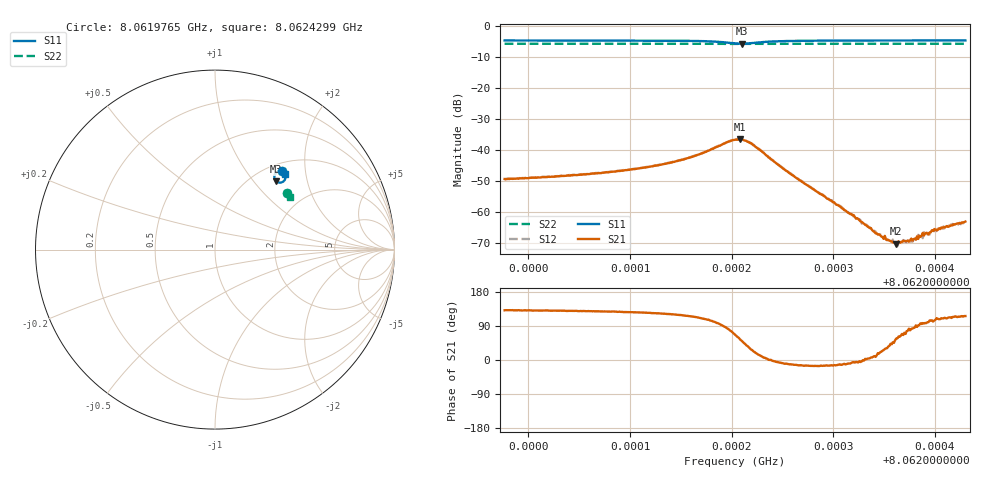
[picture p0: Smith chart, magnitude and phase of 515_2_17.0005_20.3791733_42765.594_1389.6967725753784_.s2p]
#  HZ  S  RI  R  50.00
! Rohde & Schwarz Vector Network Analyzer
! Rohde-Schwarz,ZNB20-2Port,1311601062101988,3.16
! Created: UTC 3/20/2024, 11:15:09 PM
! freq[Hz]  re:S11  im:S11  re:S21  im:S21  re:S12  im:S12  re:S22  im:S22
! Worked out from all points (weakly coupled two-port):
!   401 points, 8.0619765 GHz to 8.0624299 GHz, reference 50 ohm
!   highest |S21| = -36.56 dB at 8.0622078 GHz (marker M1); lowest = -70.1 dB at 8.0623619 GHz (marker M2)
!   lowest |S11| = -5.8 dB at 8.06221 GHz (marker M3), VSWR 3.09, Z = 63.7 + j65.7 ohm
!   |S11| at or under -10 dB: nowhere
!   |S22| runs from -5.9 to -5.8 dB; largest |S21 - S12| = 0.00098
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8.06197653e9  0.3753 0.4371  -0.00225 0.00258  -0.00215 0.00272  0.4025 0.3126
8.06205247e9  0.3815 0.4311  -0.00254 0.00313  -0.00239 0.00334  0.4054 0.3087
8.06208988e9  0.3849 0.4269  -0.0028 0.00365  -0.0026 0.00388  0.4069 0.3069
8.06212842e9  0.3893 0.4204  -0.00313 0.00481  -0.00285 0.00504  0.4083 0.3047
8.06216015e9  0.3928 0.4093  -0.00327 0.00698  -0.00288 0.00721  0.4093 0.3027
8.06218622e9  0.3881 0.3876  -0.00146 0.0113  -0.000871 0.0116  0.4099 0.3006
8.06220323e9  0.3588 0.3734  0.00562 0.0134  0.00652 0.0132  0.4088 0.2995
8.06220776e9  0.3466 0.377  0.00836 0.0123  0.00892 0.0119  0.4084 0.2995
8.06221003e9  0.341 0.3809  0.00937 0.0112  0.0102 0.0109  0.4083 0.2996
8.06221683e9  0.3311 0.3975  0.0112 0.00736  0.0117 0.00669  0.4084 0.3004
8.0622225e9  0.3312 0.4114  0.0109 0.0042  0.0112 0.00365  0.4088 0.3006
8.06225083e9  0.3563 0.4354  0.00494 -0.000769  0.00497 -0.00107  0.4113 0.3
8.06227917e9  0.37 0.4349  0.00234 -0.000648  0.0023 -0.00079  0.4127 0.2985
8.06231884e9  0.379 0.4314  0.000893 -9.66e-05  0.000893 -0.000212  0.4143 0.2962
8.06234151e9  0.382 0.4298  0.000455 6.56e-05  0.000487 5.3e-05  0.4152 0.295
8.06235511e9  0.3837 0.4287  0.00028 0.000212  0.000274 0.000186  0.4158 0.2943
8.06236191e9  0.3845 0.4282  0.000172 0.000261  0.000209 0.000245  0.416 0.2939
8.06236758e9  0.3851 0.4277  0.000121 0.000314  0.000152 0.000285  0.4161 0.2937
8.06237552e9  0.3857 0.4272  7.26e-05 0.000348  6.24e-05 0.000324  0.4166 0.2932
8.06239138e9  0.3873 0.4261  -5.86e-05 0.000464  -2.48e-05 0.000491  0.417 0.2925
8.06239818e9  0.3879 0.4256  -9.93e-05 0.000489  -0.000117 0.000476  0.4173 0.292
8.06242992e9  0.3905 0.4237  -0.000312 0.000638  -0.000279 0.00066  0.4183 0.2904
